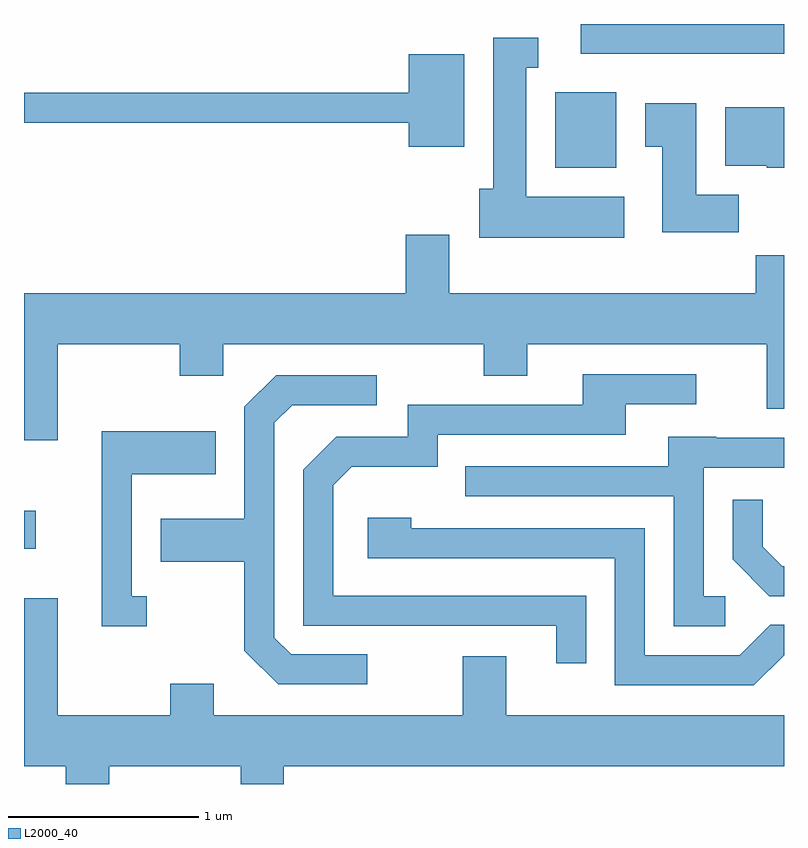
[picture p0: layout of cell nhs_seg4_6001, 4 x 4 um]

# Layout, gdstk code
import gdstk
lib = gdstk.Library(unit=1e-6, precision=1e-09)
def R(c, l, rs):  # rectangles x0, y0, x1, y1
    for r in rs: c.add(gdstk.rectangle(r[:2], r[2:], *l))
def P(c, l, *ps):  # polygons
    for p in ps: c.add(gdstk.Polygon(p, *l))
L2000_40 = (2000, 40)

nhs_seg4_6001 = lib.new_cell('nhs_seg4_6001')
R(nhs_seg4_6001, L2000_40, [(361.611,1289.221,361.674,1289.419), (364.406,1291.226,364.729,1291.624), (364.541,1291.826,365.611,1291.982)])
P(nhs_seg4_6001, L2000_40, [(364.769,1291.074),(364.254,1291.074),(364.254,1291.751),(364.318,1291.751),(364.318,1291.909),(364.081,1291.909),(364.081,1291.114),(364.006,1291.114),(364.006,1290.856),(364.769,1290.856)],
  [(363.929,1291.824),(363.636,1291.824),(363.636,1291.619),(361.611,1291.619),(361.611,1291.461),(363.636,1291.461),(363.636,1291.336),(363.929,1291.336)],
  [(365.374,1291.084),(365.149,1291.084),(365.149,1291.564),(364.881,1291.564),(364.881,1291.336),(364.971,1291.336),(364.971,1290.886),(365.374,1290.886)],
  [(365.611,1291.544),(365.301,1291.544),(365.301,1291.236),(365.52,1291.236),(365.52,1291.226),(365.611,1291.226)],
  [(361.789,1290.296),(362.431,1290.296),(362.431,1290.131),(362.659,1290.131),(362.659,1290.296),(364.031,1290.296),(364.031,1290.131),(364.259,1290.131),(364.259,1290.296),(365.521,1290.296),(365.521,1289.956),(365.611,1289.956),(365.611,1290.764),(365.461,1290.764),(365.461,1290.564),(363.849,1290.564),(363.849,1290.874),(363.621,1290.874),(363.621,1290.564),(361.611,1290.564),(361.611,1289.791),(361.789,1289.791)],
  [(364.569,1288.974),(363.239,1288.974),(363.239,1289.554),(363.337,1289.651),(363.789,1289.651),(363.789,1289.821),(364.779,1289.821),(364.779,1289.981),(365.148,1289.981),(365.148,1290.139),(364.551,1290.139),(364.551,1289.979),(363.631,1289.979),(363.631,1289.809),(363.254,1289.809),(363.081,1289.637),(363.081,1288.816),(364.411,1288.816),(364.411,1288.618),(364.569,1288.618)],
  [(363.418,1288.664),(363.017,1288.664),(362.929,1288.752),(362.929,1289.884),(363.022,1289.976),(363.468,1289.976),(363.468,1290.134),(362.939,1290.134),(362.771,1289.967),(362.771,1289.379),(362.331,1289.379),(362.331,1289.151),(362.771,1289.151),(362.771,1288.684),(362.949,1288.506),(363.418,1288.506)],
  [(362.258,1288.969),(362.179,1288.969),(362.179,1289.611),(362.619,1289.611),(362.619,1289.839),(362.021,1289.839),(362.021,1288.811),(362.258,1288.811)],
  [(365.303,1288.969),(365.189,1288.969),(365.189,1289.646),(365.611,1289.646),(365.611,1289.804),(365.255,1289.804),(365.255,1289.809),(365.001,1289.809),(365.001,1289.654),(363.933,1289.654),(363.933,1289.496),(365.031,1289.496),(365.031,1288.811),(365.303,1288.811)],
  [(365.611,1289.129),(365.602,1289.129),(365.499,1289.232),(365.499,1289.478),(365.341,1289.478),(365.341,1289.164),(365.534,1288.971),(365.611,1288.971)],
  [(365.611,1288.66),(365.611,1288.819),(365.539,1288.819),(365.379,1288.659),(364.879,1288.659),(364.879,1289.329),(363.649,1289.329),(363.649,1289.384),(363.421,1289.384),(363.421,1289.171),(364.721,1289.171),(364.721,1288.501),(365.452,1288.501)],
  [(362.059,1288.076),(362.751,1288.076),(362.751,1287.982),(362.979,1287.982),(362.979,1288.076),(365.611,1288.076),(365.611,1288.344),(364.149,1288.344),(364.149,1288.654),(363.921,1288.654),(363.921,1288.344),(362.609,1288.344),(362.609,1288.509),(362.381,1288.509),(362.381,1288.344),(361.789,1288.344),(361.789,1288.959),(361.611,1288.959),(361.611,1288.076),(361.831,1288.076),(361.831,1287.982),(362.059,1287.982)])

lib.write_gds('nhs_seg4_6001.gds')
